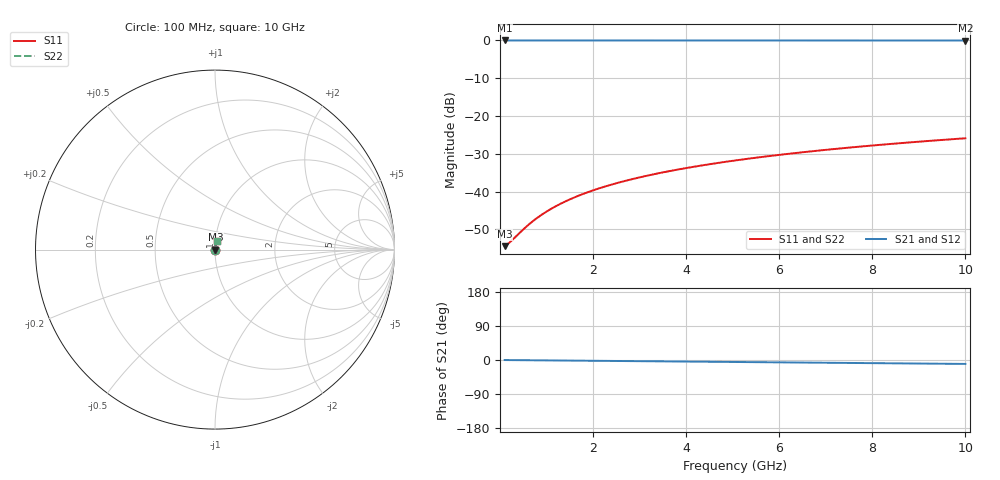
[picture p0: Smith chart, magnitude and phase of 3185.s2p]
# Hz S RI R 50.00
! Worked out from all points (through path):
!   100 points, 100 MHz to 10 GHz, reference 50 ohm
!   highest |S21| = -0.02 dB at 100 MHz (marker M1); lowest = 0.0 dB at 10 GHz (marker M2)
!   group delay of S21, straight-line fit = 2.88 ps
!   lowest |S11| = -54.4 dB at 100 MHz (marker M3), VSWR 1.00, Z = 50.2 + j0.0508 ohm
!   |S11| at or under -10 dB: start of sweep to end of sweep
!   |S22| runs from -54.4 to -25.9 dB; largest |S21 - S12| = 0
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1e8  0.00183 0.000506  0.9982 -0.0018  0.9982 -0.0018  0.00183 0.000506
2e8  0.00184 0.00101  0.9982 -0.00361  0.9982 -0.00361  0.00184 0.00101
5e8  0.00188 0.00253  0.9981 -0.00901  0.9981 -0.00901  0.00188 0.00253
6e8  0.0019 0.00304  0.9981 -0.0108  0.9981 -0.0108  0.0019 0.00304
7e8  0.00191 0.00354  0.998 -0.0126  0.998 -0.0126  0.00191 0.00354
9e8  0.00195 0.00456  0.998 -0.0162  0.998 -0.0162  0.00195 0.00456
1.1e9  0.00199 0.00557  0.9979 -0.0198  0.9979 -0.0198  0.00199 0.00557
1.3e9  0.00204 0.00658  0.9978 -0.0234  0.9978 -0.0234  0.00204 0.00658
1.5e9  0.0021 0.00759  0.9977 -0.027  0.9977 -0.027  0.0021 0.00759
1.8e9  0.0022 0.00911  0.9975 -0.0324  0.9975 -0.0324  0.0022 0.00911
2.1e9  0.00231 0.0106  0.9973 -0.0378  0.9973 -0.0378  0.00231 0.0106
2.5e9  0.00249 0.0126  0.997 -0.0451  0.997 -0.0451  0.00249 0.0126
2.9e9  0.00269 0.0147  0.9966 -0.0523  0.9966 -0.0523  0.00269 0.0147
3.4e9  0.00299 0.0172  0.996 -0.0613  0.996 -0.0613  0.00299 0.0172
3.8e9  0.00326 0.0192  0.9955 -0.0685  0.9955 -0.0685  0.00326 0.0192
4.2e9  0.00355 0.0212  0.9949 -0.0756  0.9949 -0.0756  0.00355 0.0212
5.1e9  0.00433 0.0257  0.9934 -0.0918  0.9934 -0.0918  0.00433 0.0257
5.9e9  0.00514 0.0296  0.9919 -0.1062  0.9919 -0.1062  0.00514 0.0296
6.7e9  0.00607 0.0336  0.9901 -0.1205  0.9901 -0.1205  0.00607 0.0336
7.5e9  0.00711 0.0375  0.988 -0.1348  0.988 -0.1348  0.00711 0.0375
8.4e9  0.00841 0.0418  0.9855 -0.1509  0.9855 -0.1509  0.00841 0.0418
1e10  0.0111 0.0495  0.9803 -0.1793  0.9803 -0.1793  0.0111 0.0495
